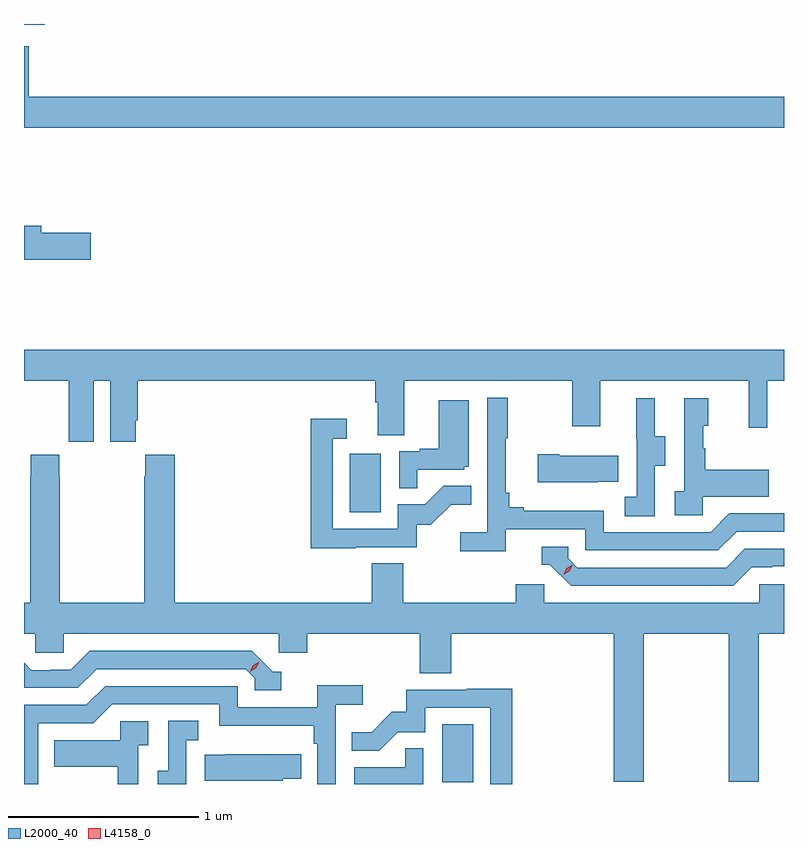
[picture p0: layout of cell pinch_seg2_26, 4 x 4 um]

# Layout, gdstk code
import gdstk
lib = gdstk.Library(unit=1e-6, precision=1e-09)
def R(c, l, rs):  # rectangles x0, y0, x1, y1
    for r in rs: c.add(gdstk.rectangle(r[:2], r[2:], *l))
def P(c, l, *ps):  # polygons
    for p in ps: c.add(gdstk.Polygon(p, *l))
L2000_40 = (2000, 40)
L4158_0 = (4158, 0)

pinch_seg2_26 = lib.new_cell('pinch_seg2_26')
R(pinch_seg2_26, L2000_40, [(1084.442,654.846,1084.606,655.153), (1083.956,656.268,1084.12,656.575), (1082.242,658.835,1082.35,658.838)])
P(pinch_seg2_26, L2000_40, [(1086.242,658.456),(1082.267,658.456),(1082.267,658.72),(1082.242,658.72),(1082.242,658.292),(1086.242,658.292)],
  [(1082.593,657.74),(1082.332,657.74),(1082.332,657.776),(1082.242,657.776),(1082.242,657.598),(1082.593,657.598)],
  [(1082.608,656.96),(1082.696,656.96),(1082.696,656.64),(1082.83,656.64),(1082.83,656.752),(1082.84,656.752),(1082.84,656.96),(1084.091,656.96),(1084.091,656.848),(1084.103,656.848),(1084.103,656.674),(1084.243,656.674),(1084.243,656.96),(1085.128,656.96),(1085.128,656.721),(1085.275,656.721),(1085.275,656.96),(1086.056,656.96),(1086.056,656.712),(1086.153,656.712),(1086.153,656.96),(1086.242,656.96),(1086.242,657.124),(1082.242,657.124),(1082.242,656.96),(1082.477,656.96),(1082.477,656.752),(1082.478,656.752),(1082.478,656.64),(1082.608,656.64)],
  [(1084.778,656.178),(1085.196,656.178),(1085.196,656.067),(1085.893,656.067),(1085.992,656.166),(1086.242,656.166),(1086.242,656.262),(1085.955,656.262),(1085.856,656.163),(1085.292,656.163),(1085.292,656.275),(1084.873,656.275),(1084.873,656.294),(1084.796,656.294),(1084.796,656.371),(1084.777,656.371),(1084.777,656.659),(1084.789,656.659),(1084.789,656.872),(1084.68,656.872),(1084.68,656.164),(1084.539,656.164),(1084.539,656.062),(1084.778,656.062)],
  [(1085.814,656.351),(1086.161,656.351),(1086.161,656.491),(1085.827,656.491),(1085.827,656.606),(1085.817,656.606),(1085.817,656.724),(1085.842,656.724),(1085.842,656.869),(1085.718,656.869),(1085.718,656.378),(1085.667,656.378),(1085.667,656.253),(1085.814,656.253)],
  [(1085.562,656.512),(1085.617,656.512),(1085.617,656.667),(1085.563,656.667),(1085.563,656.869),(1085.465,656.869),(1085.465,656.655),(1085.466,656.655),(1085.466,656.351),(1085.403,656.351),(1085.403,656.248),(1085.562,656.248)],
  [(1084.313,656.493),(1084.56,656.493),(1084.56,656.508),(1084.582,656.508),(1084.582,656.857),(1084.424,656.857),(1084.424,656.602),(1084.325,656.602),(1084.325,656.589),(1084.218,656.589),(1084.218,656.395),(1084.313,656.395)],
  [(1083.989,656.085),(1084.308,656.085),(1084.308,656.202),(1084.384,656.202),(1084.491,656.309),(1084.595,656.309),(1084.595,656.408),(1084.451,656.408),(1084.353,656.31),(1084.209,656.31),(1084.209,656.181),(1083.867,656.181),(1083.867,656.655),(1083.94,656.655),(1083.94,656.761),(1083.751,656.761),(1083.751,656.08),(1083.989,656.08)],
  [(1085.261,656.429),(1085.369,656.429),(1085.369,656.566),(1085.059,656.566),(1085.059,656.574),(1084.947,656.574),(1084.947,656.426),(1085.261,656.426)],
  [(1085.505,655.628),(1085.95,655.628),(1085.95,654.849),(1086.11,654.849),(1086.11,655.628),(1086.242,655.628),(1086.242,655.89),(1086.111,655.89),(1086.111,655.792),(1084.98,655.792),(1084.98,655.89),(1084.829,655.89),(1084.829,655.792),(1084.238,655.792),(1084.238,656),(1084.073,656),(1084.073,655.792),(1083.035,655.792),(1083.035,656.572),(1082.881,656.572),(1082.881,656.459),(1082.875,656.459),(1082.875,655.792),(1082.43,655.792),(1082.43,656.459),(1082.427,656.459),(1082.427,656.572),(1082.277,656.572),(1082.277,656.459),(1082.275,656.459),(1082.275,655.792),(1082.242,655.792),(1082.242,655.628),(1082.301,655.628),(1082.301,655.53),(1082.451,655.53),(1082.451,655.628),(1083.582,655.628),(1083.582,655.53),(1083.734,655.53),(1083.734,655.628),(1084.325,655.628),(1084.325,655.42),(1084.49,655.42),(1084.49,655.628),(1085.345,655.628),(1085.345,654.849),(1085.505,654.849)],
  [(1086.073,655.98),(1086.18,655.98),(1086.18,655.983),(1086.242,655.983),(1086.242,656.076),(1086.036,656.076),(1085.937,655.977),(1085.154,655.977),(1085.106,656.025),(1085.106,656.088),(1084.967,656.088),(1084.967,655.992),(1085.01,655.992),(1085.121,655.881),(1085.974,655.881)],
  [(1083.595,655.428),(1083.552,655.428),(1083.441,655.539),(1082.588,655.539),(1082.489,655.44),(1082.382,655.44),(1082.382,655.437),(1082.279,655.437),(1082.242,655.475),(1082.242,655.344),(1082.526,655.344),(1082.625,655.443),(1083.408,655.443),(1083.456,655.395),(1083.456,655.332),(1083.595,655.332)],
  [(1082.316,655.158),(1082.607,655.158),(1082.706,655.257),(1083.27,655.257),(1083.27,655.145),(1083.766,655.145),(1083.766,655.049),(1083.786,655.049),(1083.786,654.838),(1083.882,654.838),(1083.882,655.256),(1084.024,655.256),(1084.024,655.358),(1083.785,655.358),(1083.785,655.242),(1083.366,655.242),(1083.366,655.353),(1082.669,655.353),(1082.57,655.254),(1082.242,655.254),(1082.242,654.838),(1082.316,654.838)],
  [(1084.811,655.34),(1084.573,655.34),(1084.573,655.335),(1084.255,655.335),(1084.255,655.218),(1084.178,655.218),(1084.071,655.111),(1083.967,655.111),(1083.967,655.012),(1084.111,655.012),(1084.209,655.11),(1084.353,655.11),(1084.353,655.239),(1084.695,655.239),(1084.695,654.838),(1084.811,654.838)],
  [(1083.096,655.069),(1083.16,655.069),(1083.16,655.172),(1083,655.172),(1083,654.909),(1082.945,654.909),(1082.945,654.838),(1083.096,654.838)],
  [(1082.844,655.043),(1082.896,655.043),(1082.896,655.167),(1082.748,655.167),(1082.748,655.069),(1082.401,655.069),(1082.401,654.929),(1082.736,654.929),(1082.736,654.838),(1082.844,654.838)],
  [(1084.344,655.025),(1084.249,655.025),(1084.249,654.927),(1083.98,654.927),(1083.98,654.838),(1084.344,654.838)],
  [(1083.603,654.865),(1083.701,654.865),(1083.701,654.994),(1083.301,654.994),(1083.301,654.991),(1083.193,654.991),(1083.193,654.854),(1083.603,654.854)])
P(pinch_seg2_26, L4158_0, [(1083.431,655.429),(1083.431,655.43),(1083.448,655.462),(1083.479,655.481),(1083.479,655.481),(1083.479,655.481),(1083.463,655.448),(1083.431,655.429)],
  [(1085.081,655.94),(1085.081,655.94),(1085.098,655.973),(1085.129,655.992),(1085.129,655.992),(1085.129,655.992),(1085.112,655.959),(1085.081,655.94)])

lib.write_gds('pinch_seg2_26.gds')
